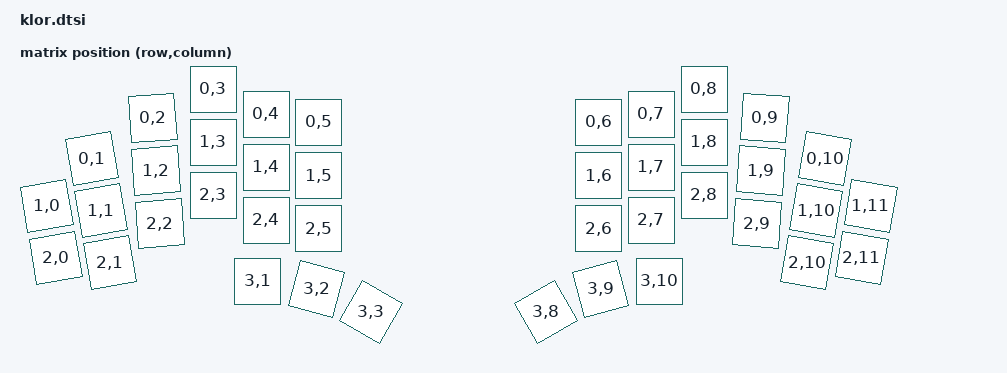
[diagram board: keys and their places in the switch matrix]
#include <dt-bindings/zmk/matrix_transform.h>
#include <physical_layouts.dtsi>

/ {
	chosen {
        zmk,kscan = &kscan0;
        zmk,physical-layout = &default_layout;

        left_encoder: encoder_left {
            compatible = "alps,ec11";
            label = "LEFT_ENCODER";
            steps = <24>;
            status = "disabled";
        };

        right_encoder: encoder_right {
            compatible = "alps,ec11";
            label = "RIGHT_ENCODER";
            steps = <24>;
            status = "disabled";
        };

        sensors {
            compatible = "zmk,keymap-sensors";
            sensors = <&left_encoder &right_encoder>;
            triggers-per-rotation = <6>;
        };
	};


	default_transform: keymap_transform_0 {
	    compatible = "zmk,matrix-transform";
	    columns = <12>;
	    rows = <4>;
	
	    map = <
	        // Top — 10
	        RC(0,1) RC(0,2) RC(0,3) RC(0,4) RC(0,5)
	        RC(0,6) RC(0,7) RC(0,8) RC(0,9) RC(0,10)
	
	        // Home — 12
	        RC(1,0) RC(1,1) RC(1,2) RC(1,3) RC(1,4) RC(1,5)
	        RC(1,6) RC(1,7) RC(1,8) RC(1,9) RC(1,10) RC(1,11)
	
	        // Bottom — 12
	        RC(2,0) RC(2,1) RC(2,2) RC(2,3) RC(2,4) RC(2,5)
	        RC(2,6) RC(2,7) RC(2,8) RC(2,9) RC(2,10) RC(2,11)
	
	        // Thumbs — 6
	        RC(3,1) RC(3,2) RC(3,3)
	        RC(3,8) RC(3,9) RC(3,10)
	    >;
};
		>;
	};

	kscan0: kscan {
		diode-direction = "col2row";
	};

    default_layout: default_layout {
        compatible = "zmk,physical-layout";
        display-name = "KLOR Konrad";

        transform = <&default_transform>;

		keys  //                     w   h     x    y      rot    rx    ry
        	// ───────────────────────── TOP ROW ─────────────────────────
        	// L01 L02 L03 L04 L05
        	= <&key_physical_attrs 100 100    91  139  (-1000)  141  189>
        	, <&key_physical_attrs 100 100   212   58   (-400)  262  108>
        	, <&key_physical_attrs 100 100   333    0        0     0    0>
        	, <&key_physical_attrs 100 100   439   50        0     0    0>
        	, <&key_physical_attrs 100 100   544   66        0     0    0>

        	// R00 R01 R02 R03 R04
        	, <&key_physical_attrs 100 100  1104   66        0     0    0>
        	, <&key_physical_attrs 100 100  1209   50        0     0    0>
        	, <&key_physical_attrs 100 100  1315    0        0     0    0>
        	, <&key_physical_attrs 100 100  1436   58      400  1486  108>
        	, <&key_physical_attrs 100 100  1557  139     1000  1607  189>

        	// ──────────────────────── HOME ROW ─────────────────────────
        	// L10 L11 L12 L13 L14 L15
        	, <&key_physical_attrs 100 100     0  234  (-1000)   50  284>
        	, <&key_physical_attrs 100 100   109  243  (-1000)  159  293>
        	, <&key_physical_attrs 100 100   219  163   (-400)  269  213>
        	, <&key_physical_attrs 100 100   333  106        0     0    0>
        	, <&key_physical_attrs 100 100   439  156        0     0    0>
        	, <&key_physical_attrs 100 100   544  173        0     0    0>

        	// R10 R11 R12 R13 R14 R15
        	, <&key_physical_attrs 100 100  1104  173        0     0    0>
        	, <&key_physical_attrs 100 100  1209  156        0     0    0>
        	, <&key_physical_attrs 100 100  1315  106        0     0    0>
        	, <&key_physical_attrs 100 100  1429  163      400  1479  213>
	        , <&key_physical_attrs 100 100  1539  243     1000  1589  293>
        	, <&key_physical_attrs 100 100  1648  234     1000  1698  284>

        	// ─────────────────────── BOTTOM ROW ────────────────────────
        	// L20 L21 L22 L23 L24 L25
        	, <&key_physical_attrs 100 100    18  338  (-1000)   68  388>
        	, <&key_physical_attrs 100 100   127  347  (-1000)  177  397>
        	, <&key_physical_attrs 100 100   227  269   (-400)  277  319>
        	, <&key_physical_attrs 100 100   333  212        0     0    0>
        	, <&key_physical_attrs 100 100   439  262        0     0    0>
        	, <&key_physical_attrs 100 100   544  279        0     0    0>

        	// R20 R21 R22 R23 R24 R25
        	, <&key_physical_attrs 100 100  1104  279        0     0    0>
        	, <&key_physical_attrs 100 100  1209  262        0     0    0>
        	, <&key_physical_attrs 100 100  1315  212        0     0    0>
        	, <&key_physical_attrs 100 100  1421  269      400  1471  319>
        	, <&key_physical_attrs 100 100  1521  347     1000  1571  397>
        	, <&key_physical_attrs 100 100  1630  338     1000  1680  388>

        	// ──────────────────────── THUMBS ───────────────────────────
        	// L31 L32 L33
        	, <&key_physical_attrs 100 100   422  384        0     0    0>
        	, <&key_physical_attrs 100 100   540  400     1500   590  450>
        	, <&key_physical_attrs 100 100   649  446     3000   699  496>

        	// R32 R33 R34
        	, <&key_physical_attrs 100 100   999  446  (-3000) 1049  496>
        	, <&key_physical_attrs 100 100  1108  400  (-1500) 1158  450>
        	, <&key_physical_attrs 100 100  1226  384        0     0    0>;
    };
};
